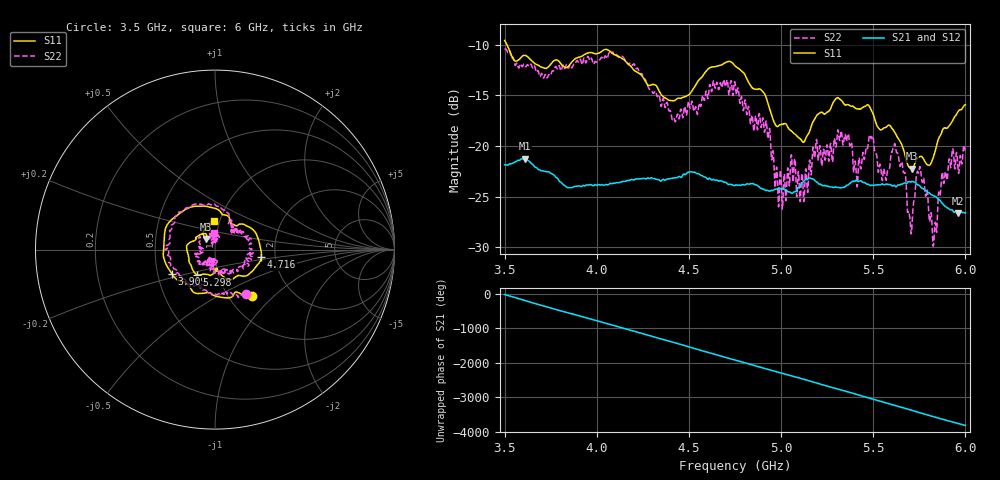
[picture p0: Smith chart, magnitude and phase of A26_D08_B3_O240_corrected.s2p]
! Created with skrf 1.9.0 (http://scikit-rf.org).
# Hz S RI R 50.0
!freq ReS11 ImS11 ReS21 ImS21 ReS12 ImS12 ReS22 ImS22
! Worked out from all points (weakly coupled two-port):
!   1601 points, 3.5 GHz to 6 GHz, reference 50 ohm
!   highest |S21| = -21.24 dB at 3.609 GHz (marker M1); lowest = -26.6 dB at 5.959 GHz (marker M2)
!   lowest |S11| = -22.2 dB at 5.708 GHz (marker M3), VSWR 1.17, Z = 44.9 + j5.36 ohm
!   |S11| at or under -10 dB: 3.513 GHz to end of sweep
!   |S22| runs from -29.9 to -10.4 dB; largest |S21 - S12| = 0.0011
!   S11 on the Smith chart (normalised r, x): 3.5 GHz: 1.27, -0.75; 3.909 GHz: 0.59, -0.17; 4.716 GHz: 1.69, -0.15; 5.298 GHz: 0.79, -0.23; 6 GHz: 0.94, +0.31
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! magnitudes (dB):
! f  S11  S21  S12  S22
! 3.5 GHz  -9.6  -21.8  -21.8  -10.5
! 3.609 GHz  -11.0  -21.2  -21.3  -12.0
! 3.909 GHz  -11.2  -24.0  -23.9  -11.4
! 3.917 GHz  -11.2  -24.0  -24.0  -11.8
! 4.136 GHz  -11.3  -23.5  -23.5  -11.1
! 4.334 GHz  -14.4  -23.3  -23.3  -15.0
! 4.42 GHz  -15.5  -23.1  -23.1  -17.3
! 4.716 GHz  -11.7  -23.8  -23.9  -14.8
! 4.75 GHz  -12.1  -23.9  -23.8  -13.7
! 4.928 GHz  -15.8  -24.4  -24.4  -19.3
! 4.997 GHz  -17.9  -24.2  -24.2  -22.4
! 5.167 GHz  -17.9  -23.2  -23.2  -21.9
! 5.298 GHz  -15.3  -24.1  -24.0  -20.1
! 5.405 GHz  -16.3  -23.4  -23.4  -21.9
! 5.584 GHz  -17.9  -23.8  -23.8  -22.3
! 5.625 GHz  -18.9  -24.0  -24.0  -20.5
! 5.708 GHz  -22.2  -23.5  -23.5  -28.5
! 5.748 GHz  -21.1  -23.9  -23.9  -22.4
! 5.833 GHz  -20.7  -25.0  -24.9  -28.2
! 5.881 GHz  -18.2  -25.8  -25.8  -23.7
! 5.959 GHz  -16.6  -26.6  -26.6  -22.1
! 6 GHz  -15.9  -26.6  -26.6  -20.4
